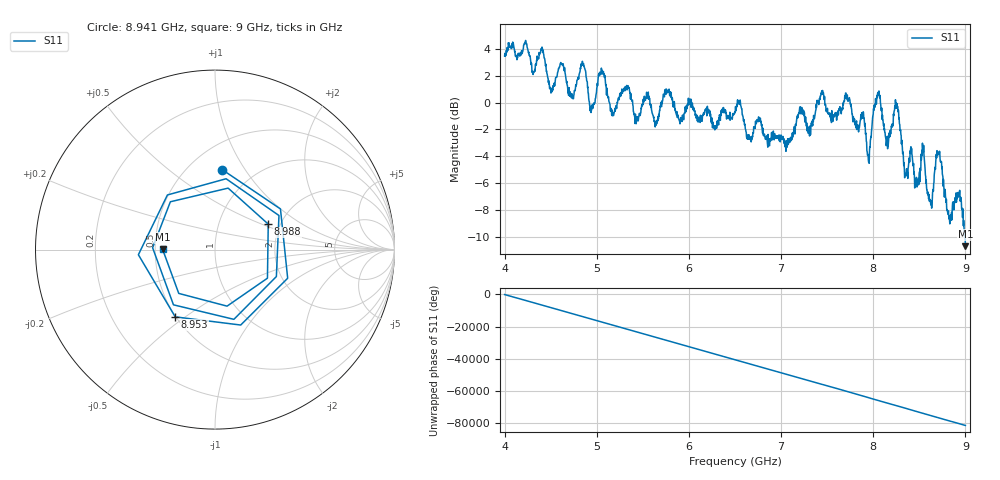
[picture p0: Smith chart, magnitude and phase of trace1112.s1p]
! Created with skrf 1.8.0 (http://scikit-rf.org).
# Hz S RI R 50.0
!freq ReS11 ImS11
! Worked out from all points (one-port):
!   1601 points, 4 GHz to 9 GHz, reference 50 ohm
!   lowest |S11| = -10.7 dB at 9 GHz (marker M1), VSWR 1.82, Z = 27.4 + j0.109 ohm
!   |S11| at or under -10 dB: 8.997064 GHz to end of sweep
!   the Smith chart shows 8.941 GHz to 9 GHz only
!   S11 on the Smith chart (normalised r, x): 8.941 GHz: 0.71, +0.80; 8.953 GHz: 0.50, -0.46; 8.988 GHz: 1.73, +0.55; 9 GHz: 0.55, +0.00
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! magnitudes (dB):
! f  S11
! 4 GHz  3.5
! 4.4 GHz  4.0
! 4.509 GHz  1.0
! 4.625 GHz  2.8
! 4.728 GHz  0.6
! 4.853 GHz  2.8
! 4.941 GHz  -0.6
! 5.047 GHz  2.1
! 5.169 GHz  -1.0
! 5.25 GHz  0.7
! 5.875 GHz  -1.1
! 6.5 GHz  -0.7
! 7.125 GHz  -2.6
! 7.441 GHz  0.9
! 7.75 GHz  -0.1
! 7.95 GHz  -4.4
! 8.05 GHz  0.7
! 8.156 GHz  -3.4
! 8.25 GHz  -0.2
! 8.375 GHz  -5.6
! 8.544 GHz  -3.7
! 8.619 GHz  -7.4
! 8.706 GHz  -3.7
! 8.822 GHz  -8.7
! 8.941 GHz  -7.0
! 8.953 GHz  -7.2
! 8.988 GHz  -9.7
! 9 GHz  -10.7
